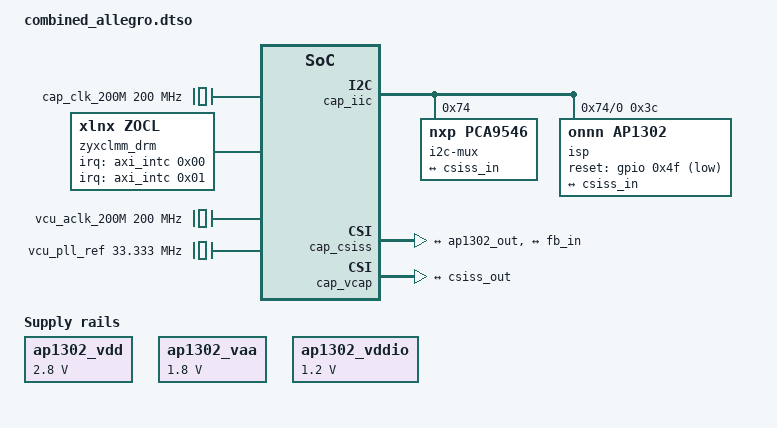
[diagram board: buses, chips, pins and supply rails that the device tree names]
/*
 * combined_allegro.dtso — 配布している PL overlay `combined_allegro.dtbo` のソース
 *
 * 1 枚の overlay で、単一 bitstream(`kv260_fan_vcu.bit.bin`)上の以下をすべて expose する:
 *   - zocl(`zyxclmm_drm`) … 推論 kernel の XRT device。これが無いと host が
 *                            "No such device index 0" で動かない
 *   - probe(`axi_intc@80000000` / `axi_fifo_mm_s@80010000`) … per-layer cyclestamp 読み出し
 *   - camera(`i2c@80030000` + mux + AP1302 `isp@3c` / `csiss@80020000` /
 *            `fb_wr@80040000` / `isp_vcap_csi`) … MIPI CSI-2 取り込み
 *   - VCU(`vcu@80140000` + `al5e@80109000` + `vcu_settings@80141000` syscon) … H.264 encode
 *
 * ★encoder node は mainline の allegro-dvt driver 向けの binding にしてある:
 *     compatible      = "allegro,al5e-1.1"
 *     reg / reg-names = regs(0x80109000) + sram(0x80100000)
 *     clock-names     = "core_clk", "mcu_clk"
 *     assigned-clock-rates = <667000000 444000000>
 *     xlnx,vcu-settings = <&vcu_settings>   (syscon。無いと allegro_runtime_resume が
 *                                            ERR_PTR を regmap_read して oops する)
 *   driver 側のソースと patch は ../allegro-dvt/ を参照。
 *
 * ビルド(配布 dtbo を byte-exact に再生成する):
 *     dtc -@ -I dts -O dtb -o combined_allegro.dtbo combined_allegro.dtso
 *   期待値: md5 9dd5895218d5295bced3c17cf9439a3b / 11,257 バイト(DTC 1.6.1 で確認)
 *
 * board への配置: `install.sh` が /lib/firmware/ と
 *   /lib/firmware/xilinx/yolov7vcu/yolov7vcu.dtbo(dfx-mgr 用)へ置く。
 *   ★dtbo を差し替えたら reboot が必要(setup.md §3-2)。
 *
 * ライセンス: 本ファイルは本プロジェクトの著作物(AGPL-3.0)。
 *   ../../LICENSE / ../../THIRD_PARTY_NOTICES.md §5 を参照。
 */

/dts-v1/;
/plugin/;

/* ---- fragment@0: fpga-region(PL config + fabric clocks + zocl kernel) ---- */
&fpga_full {
	firmware-name = "kv260_fan_vcu.bit.bin";
	resets = <&zynqmp_reset 0x74>;

	clocking0: clocking0 {
		#clock-cells = <0x00>;
		compatible = "xlnx,fclk";
		clock-output-names = "fabric_clk";
		assigned-clock-rates = <0x5f5e119>;
		assigned-clocks = <&zynqmp_clk 0x47>;
		clocks = <&zynqmp_clk 0x47>;
	};

	clocking1: clocking1 {
		#clock-cells = <0x00>;
		compatible = "xlnx,fclk";
		clock-output-names = "fabric_clk";
		assigned-clock-rates = <0x5f5e119>;
		assigned-clocks = <&zynqmp_clk 0x48>;
		clocks = <&zynqmp_clk 0x48>;
	};

	afi0: afi0 {
		compatible = "xlnx,afi-fpga";
		config-afi = <0x00 0x00 0x01 0x00 0x02 0x00 0x03 0x00 0x04 0x00 0x05 0x00 0x06 0x00 0x07 0x00 0x08 0x00 0x09 0x00 0x0a 0x00 0x0b 0x00 0x0c 0x00 0x0d 0x00 0x0e 0xa00 0x0f 0x00>;
		resets = <&zynqmp_reset 0x74 &zynqmp_reset 0x75 &zynqmp_reset 0x76 &zynqmp_reset 0x77>;
	};

	misc_clk_0: misc_clk_0 {
		#clock-cells = <0x00>;
		compatible = "fixed-factor-clock";
		clock-div = <0x01>;
		clock-mult = <0x02>;
		clocks = <&zynqmp_clk 0x47>;
	};

	cap_clk_200M: cap_clk_200M {
		#clock-cells = <0x00>;
		compatible = "fixed-clock";
		clock-frequency = <0xbebc200>;
	};

	zyxclmm_drm {
		compatible = "xlnx,zocl";
		interrupts-extended = <&axi_intc 0x00 0x04 &axi_intc 0x01 0x04 &axi_intc 0x02 0x04 &axi_intc 0x03 0x04
			&axi_intc 0x04 0x04 &axi_intc 0x05 0x04 &axi_intc 0x06 0x04 &axi_intc 0x07 0x04
			&axi_intc 0x08 0x04 &axi_intc 0x09 0x04 &axi_intc 0x0a 0x04 &axi_intc 0x0b 0x04
			&axi_intc 0x0c 0x04 &axi_intc 0x0d 0x04 &axi_intc 0x0e 0x04 &axi_intc 0x0f 0x04
			&axi_intc 0x10 0x04 &axi_intc 0x11 0x04 &axi_intc 0x12 0x04 &axi_intc 0x13 0x04
			&axi_intc 0x14 0x04 &axi_intc 0x15 0x04 &axi_intc 0x16 0x04 &axi_intc 0x17 0x04
			&axi_intc 0x18 0x04 &axi_intc 0x19 0x04 &axi_intc 0x1a 0x04 &axi_intc 0x1b 0x04
			&axi_intc 0x1c 0x04 &axi_intc 0x1d 0x04 &axi_intc 0x1e 0x04 &axi_intc 0x1f 0x04>;
	};
};

/* ---- fragment@1: amba(probe / camera / VCU MMIO) ---- */
&amba {
	#address-cells = <0x02>;
	#size-cells = <0x02>;

	/* --- probe: axi_intc(zocl 32 IRQ cascade)+ axis_fifo(per-stage probe drain) --- */
	axi_intc: interrupt-controller@80000000 {
		#interrupt-cells = <0x02>;
		compatible = "xlnx,axi-intc-4.1", "xlnx,xps-intc-1.00.a";
		interrupt-controller;
		interrupt-names = "irq";
		interrupt-parent = <&gic>;
		interrupts = <0x00 0x59 0x04>;
		reg = <0x00 0x80000000 0x00 0x10000>;
		clock-names = "s_axi_aclk";
		clocks = <&misc_clk_0>;
		xlnx,kind-of-intr = <0x01>;
		xlnx,num-intr-inputs = <0x20>;
	};

	probe_fifo: axi_fifo_mm_s@80010000 {
		interrupt-parent = <&gic>;
		interrupts = <0x00 0x5a 0x04>;
		compatible = "xlnx,axi-fifo-mm-s-4.3";
		reg = <0x00 0x80010000 0x00 0x10000>;
		clock-names = "s_axi_aclk";
		clocks = <&misc_clk_0>;
		xlnx,axi-str-rxd-protocol = "XIL_AXI_STREAM_ETH_DATA";
		xlnx,axi-str-rxd-tdata-width = <0x20>;
		xlnx,axi-str-txc-protocol = "XIL_AXI_STREAM_ETH_CTRL";
		xlnx,axi-str-txc-tdata-width = <0x20>;
		xlnx,axi-str-txd-protocol = "XIL_AXI_STREAM_ETH_DATA";
		xlnx,axi-str-txd-tdata-width = <0x20>;
		xlnx,axis-tdest-width = <0x04>;
		xlnx,axis-tid-width = <0x04>;
		xlnx,axis-tuser-width = <0x04>;
		xlnx,data-interface-type = <0x00>;
		xlnx,has-axis-tdest = <0x00>;
		xlnx,has-axis-tid = <0x00>;
		xlnx,has-axis-tkeep = <0x01>;
		xlnx,has-axis-tstrb = <0x01>;
		xlnx,has-axis-tuser = <0x00>;
		xlnx,rx-cascade-height = <0x00>;
		xlnx,rx-enable-ecc = <0x00>;
		xlnx,rx-fifo-depth = <0x200>;
		xlnx,rx-fifo-pe-threshold = <0x05>;
		xlnx,rx-fifo-pf-threshold = <0x1fb>;
		xlnx,rx-has-ecc-err-inject = <0x00>;
		xlnx,s-axi-id-width = <0x04>;
		xlnx,s-axi4-data-width = <0x20>;
		xlnx,select-xpm = <0x00>;
		xlnx,tx-cascade-height = <0x00>;
		xlnx,tx-enable-ecc = <0x00>;
		xlnx,tx-fifo-depth = <0x200>;
		xlnx,tx-fifo-pe-threshold = <0x05>;
		xlnx,tx-fifo-pf-threshold = <0x1fb>;
		xlnx,tx-has-ecc-err-inject = <0x00>;
		xlnx,use-rx-cut-through = <0x00>;
		xlnx,use-rx-data = <0x01>;
		xlnx,use-tx-ctrl = <0x00>;
		xlnx,use-tx-cut-through = <0x00>;
		xlnx,use-tx-data = <0x00>;
	};

	/* --- camera: ap1302 regulators / i2c+isp / csiss / frmbuf / isp_vcap --- */
	ap1302_vdd: regulator-ap1302-vdd {
		compatible = "regulator-fixed";
		regulator-name = "ap1302_vdd";
		regulator-min-microvolt = <0x2ab980>;
		regulator-max-microvolt = <0x2ab980>;
		enable-active-high;
	};

	ap1302_vaa: regulator-ap1302-vaa {
		compatible = "regulator-fixed";
		regulator-name = "ap1302_vaa";
		regulator-min-microvolt = <0x1b7740>;
		regulator-max-microvolt = <0x1b7740>;
	};

	ap1302_vddio: regulator-ap1302-vddio {
		compatible = "regulator-fixed";
		regulator-name = "ap1302_vddio";
		regulator-min-microvolt = <0x124f80>;
		regulator-max-microvolt = <0x124f80>;
	};

	cap_iic: i2c@80030000 {
		#address-cells = <0x01>;
		#size-cells = <0x00>;
		compatible = "xlnx,axi-iic-2.0", "xlnx,xps-iic-2.00.a";
		reg = <0x00 0x80030000 0x00 0x10000>;
		interrupt-parent = <&gic>;
		interrupts = <0x00 0x5d 0x04>;
		interrupt-names = "iic2intc_irpt";
		clocks = <&cap_clk_200M>;
		clock-names = "s_axi_aclk";

		i2c-mux@74 {
			compatible = "nxp,pca9546";
			#address-cells = <0x01>;
			#size-cells = <0x00>;
			reg = <0x74>;

			i2c@0 {
				#address-cells = <0x01>;
				#size-cells = <0x00>;
				reg = <0x00>;

				isp@3c {
					compatible = "onnn,ap1302";
					reg = <0x3c>;
					#address-cells = <0x01>;
					#size-cells = <0x00>;
					clocks = <&si5332_2>;
					reset-gpios = <&gpio 0x4f 0x01>;

					sensors {
						#address-cells = <0x01>;
						#size-cells = <0x00>;
						onnn,model = "onnn,ar1335";

						sensor@0 {
							reg = <0x00>;
							vdd-supply = <&ap1302_vdd>;
							vaa-supply = <&ap1302_vaa>;
							vddio-supply = <&ap1302_vddio>;
						};
					};

					ports {
						#address-cells = <0x01>;
						#size-cells = <0x00>;

						port@0 {
							reg = <0x02>;

							ap1302_out: endpoint {
								remote-endpoint = <&csiss_in>;
								data-lanes = <0x01 0x02 0x03 0x04>;
							};
						};
					};
				};
			};
		};
	};

	cap_csiss: csiss@80020000 {
		compatible = "xlnx,mipi-csi2-rx-subsystem-5.0";
		reg = <0x00 0x80020000 0x00 0x2000>;
		interrupt-parent = <&gic>;
		interrupts = <0x00 0x5b 0x04>;
		clocks = <&cap_clk_200M &cap_clk_200M &cap_clk_200M>;
		clock-names = "lite_aclk", "dphy_clk_200M", "video_aclk";
		xlnx,csi-pxl-format = <0x18>;
		xlnx,axis-tdata-width = <0x20>;
		xlnx,max-lanes = <0x04>;
		xlnx,en-active-lanes;
		xlnx,ppc = <0x02>;
		xlnx,vfb;

		ports {
			#address-cells = <0x01>;
			#size-cells = <0x00>;

			port@0 {
				reg = <0x00>;

				csiss_in: endpoint {
					data-lanes = <0x01 0x02 0x03 0x04>;
					remote-endpoint = <&ap1302_out>;
				};
			};

			port@1 {
				reg = <0x01>;

				csiss_out: endpoint {
					remote-endpoint = <&fb_in>;
				};
			};
		};
	};

	cap_fb_wr: fb_wr@80040000 {
		compatible = "xlnx,axi-frmbuf-wr-v2.1";
		reg = <0x00 0x80040000 0x00 0x10000>;
		interrupt-parent = <&gic>;
		interrupts = <0x00 0x5c 0x04>;
		#dma-cells = <0x01>;
		xlnx,vid-formats = "nv12";
		reset-gpios = <&gpio 0x4e 0x01>;
		xlnx,dma-addr-width = <0x20>;
		xlnx,pixels-per-clock = <0x02>;
		xlnx,max-width = <0xf00>;
		xlnx,max-height = <0x870>;
		clocks = <&cap_clk_200M>;
		clock-names = "ap_clk";
	};

	cap_vcap: isp_vcap_csi {
		compatible = "xlnx,video";
		dmas = <&cap_fb_wr 0x00>;
		dma-names = "port0";

		ports {
			#address-cells = <0x01>;
			#size-cells = <0x00>;

			port@0 {
				reg = <0x00>;
				direction = "input";

				fb_in: endpoint {
					remote-endpoint = <&csiss_out>;
				};
			};
		};
	};

	/* --- VCU(HW H.264/H.265 enc)= build/vcu_build/deploy_resetfix/vcu.dtbo(9486176a)--- */
	vcu_aclk_200M: vcu_aclk_200M {
		#clock-cells = <0x00>;
		compatible = "fixed-clock";
		clock-frequency = <0xbebc200>;
	};

	vcu_pll_ref: vcu_pll_ref {
		#clock-cells = <0x00>;
		compatible = "fixed-clock";
		clock-frequency = <0x1fca055>;
	};

	/* ★xlnx,vcu-settings syscon = logicore(0x80141000)。allegro-dvt の runtime_resume が
	 * ここから VCU_CORE_CLK(667)/VCU_MCU_CLK(444)を読んで clk_set_rate+enable する。
	 * 無いと dev->settings=ERR_PTR で regmap_read crash(driver は !NULL しか check せず)。
	 * xlnx_vcu も logicore を syscon 経由で読む(direct fallback を回避)。 */
	vcu_settings: vcu_settings@80141000 {
		compatible = "xlnx,vcu-settings", "syscon";
		reg = <0x00 0x80141000 0x00 0x1000>;
	};

	vcu: vcu@80140000 {
		#address-cells = <0x02>;
		#size-cells = <0x02>;
		#clock-cells = <0x01>;
		compatible = "xlnx,vcu-1.2", "xlnx,vcu", "simple-mfd";
		reg = <0x00 0x80140000 0x00 0x1000 0x00 0x80141000 0x00 0x1000>;
		reg-names = "vcu_slcr", "logicore";
		clocks = <&vcu_pll_ref &vcu_aclk_200M>;
		clock-names = "pll_ref", "aclk";
		/* ★venc_core/mcu clock を実 rate へ(667/444MHz)= mux/div 未設定 rate=0 対策。
		 * allegro-dvt が MCU boot する為に running clock が必須。 */
		assigned-clocks = <&vcu 0x00 &vcu 0x01>;
		assigned-clock-rates = <667000000 444000000>;
		ranges;

		/* ★encoder binding = proprietary(9486176a と同一)。Path C 採用時は
		 * compatible="allegro,al5e-1.1" + clock-names を allegro-dvt.ko 要求名へ差替
		 * ([[vcu_encoder_driver_decision_20260704.md]] §4)。 */
		/* ★allegro-dvt(mainline V4L2)版: regs/sram split + core_clk/mcu_clk。
		 * sram=base(0x9000)/regs=base+0x9000(0x1000)= VCU lite base 0x80100000 の IP 内部 offset
		 * (slcr=base+0x40000=0x80140000 で確定)。allegro.ko(cross-build)が bind → /dev/videoN。 */
		encoder: al5e@80109000 {
			compatible = "allegro,al5e-1.1";
			reg = <0x00 0x80109000 0x00 0x1000 0x00 0x80100000 0x00 0x9000>;
			reg-names = "regs", "sram";
			interrupt-parent = <&gic>;
			interrupts = <0x00 0x5e 0x04>;
			clocks = <&vcu 0x00 &vcu 0x01>;
			clock-names = "core_clk", "mcu_clk";
		};
	};
};
